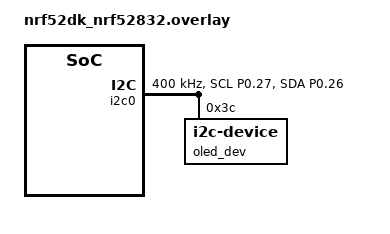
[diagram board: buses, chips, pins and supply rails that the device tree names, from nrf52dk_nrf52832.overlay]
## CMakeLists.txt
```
# SPDX-License-Identifier: Apache-2.0

cmake_minimum_required(VERSION 3.20.0)

find_package(Zephyr REQUIRED HINTS $ENV{ZEPHYR_BASE})
project(pong_main)

# Library definition for graphics
add_library(graphics_lib STATIC
  modules/arcade-drivers/graphics_core.c
  modules/arcade-drivers/graphics_core.h
  modules/arcade-drivers/oled_core.c
  modules/arcade-drivers/oled_core.h
  modules/arcade-drivers/graphics_common.c
  modules/arcade-drivers/graphics_common.h
)

target_link_libraries(graphics_lib PUBLIC zephyr_interface)

# target_include_directories(graphics_lib PUBLIC ${CMAKE_CURRENT_SOURCE_DIR})

# Add include directories
target_include_directories(app PRIVATE
  modules/arcade-drivers/
  inc/
)

target_sources(app PRIVATE 
  # submodule--need these linked with pong and not
  # as separate library (or could we do that)
  # src
  src/main.c
  src/pong_core.c

  # modules/arcade-drivers/graphics_core.c
  # modules/arcade-drivers/oled_core.c
  # modules/arcade-drivers/graphics_common.c
)

target_link_libraries(app PRIVATE graphics_lib)
```

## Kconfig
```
source "Kconfig.zephyr"

config OLED_USE_MEMCPY
	bool "Use memcpy in oled_send_bits"
	default n

config PONG_DEBUG
	bool "Debug mode for pong--collision asserts on"
	default n

config PONG_TEST_PAGE
  bool "Link test page routine into image"
  default y
```

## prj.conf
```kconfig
CONFIG_GPIO=y

CONFIG_LOG=y
CONFIG_LOG_MODE_MINIMAL=y

CONFIG_ASSERT=n

CONFIG_I2C=y
CONFIG_I2C_TARGET=y

CONFIG_TEST_RANDOM_GENERATOR=n
CONFIG_TIMER_RANDOM_GENERATOR=n

# for events
CONFIG_EVENTS=y

# Board specific macros
# CONFIG_HAS_AUTO_RESET=y
CONFIG_OLED_USE_MEMCPY=y
CONFIG_PONG_DEBUG=n
CONFIG_PONG_TEST_PAGE=y

# Stack stuff
# CONFIG_MAIN_STACK_SIZE=1024

# Thread analyzer
# CONFIG_THREAD_ANALYZER=y
# CONFIG_THREAD_ANALYZER_USE_LOG=y
# CONFIG_THREAD_ANALYZER_AUTO=y
# CONFIG_THREAD_ANALYZER_AUTO_INTERVAL=30
# CONFIG_THREAD_NAME=y

CONFIG_DEBUG=n
# CONFIG_DEBUG_THREAD_INFO=y
```

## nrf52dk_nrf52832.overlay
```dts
/* For more help, browse the devicetree documentation at https://docs.zephyrproject.org/latest/build/dts/index.html
 * You can also visit the nRF DeviceTree extension documentation at https://docs.nordicsemi.com/bundle/nrf-connect-vscode/page/guides/ncs_configure_app.html#devicetree-support-in-the-extension
 */

// get buttons here


&i2c0 {

	status = "okay";

	pinctrl-0 = <&i2c0_default>;
	pinctrl-1 = <&i2c0_sleep>;
	pinctrl-names = "default", "sleep";

	oled_dev: oled_dev@3c {
		compatible = "i2c-device";
		status = "okay";
		reg = <0x3c>;
	};

	clock-frequency = <400000>;
};

&pinctrl {
	/omit-if-no-ref/ i2c0_default: i2c0_default {
		group1 {
			psels = <NRF_PSEL(TWIM_SCL, 0, 27)>,
				<NRF_PSEL(TWIM_SDA, 0, 26)>;
		};
	};

	/omit-if-no-ref/ i2c0_sleep: i2c0_sleep {
		group1 {
			psels = <NRF_PSEL(TWIM_SCL, 0, 27)>,
				<NRF_PSEL(TWIM_SDA, 0, 26)>;
			low-power-enable;
		};
	};
};
```

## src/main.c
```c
/*
 * Author: Aidan Stanford
 */

#include <zephyr/kernel.h>
// #include <zephyr/sys/printk.h>
#include <zephyr/drivers/i2c.h>
#include <zephyr/logging/log.h>
#include <zephyr/drivers/gpio.h>

// for generating images
#include <zephyr/random/random.h>

#include "graphics_common.h"
#include "pong_core.h"

/* Get the i2c device handle */
const struct i2c_dt_spec dev_i2c = I2C_DT_SPEC_GET(DT_NODELABEL(oled_dev));
const struct i2c_dt_spec *shared_dev = &dev_i2c;

LOG_MODULE_REGISTER(main);

/* Thread objects */
static struct k_thread pong_obj;
K_THREAD_STACK_DEFINE(pong_stack, PONG_MAIN_STACK_SIZE);

int main(void) {
  // send config to device to display ram
  oled_core_cfg_t my_cfg = {
  	.screen_mod = 0,
  	.mem_mode = HORIZ_MODE,
    .col_start_end = {0X00, 0X7F},
    .page_start_end = {0X00, 0X07}
  };
  
  // initializes the config and powers on the device 
	// in ram mode
  oled_init(&my_cfg, SET_ADDR_MODE | SET_SCREEN_RAM_MOD | SET_COL_START_END |
      SET_PAGE_START_END);
  
	k_sleep(K_MSEC(1000));

	// once we're ready, create pong_main
	k_tid_t pong_tid = k_thread_create(&pong_obj, pong_stack, K_THREAD_STACK_SIZEOF(pong_stack),
                                       pong_main, NULL, NULL, NULL,
                                       PONG_MAIN_PRIORITY, 0, K_NO_WAIT);

	LOG_INF("pong_main tid: %p", pong_tid);

  while (1) {
    // sleep for some time
    k_sleep(K_MSEC(10000));
  }
  
  return 0;
}
```

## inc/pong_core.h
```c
/*
 * Author: Aidan S
 */

#ifndef __PONG_CORE__
#define __PONG_CORE__

#include <stdbool.h>
#include <stdint.h>

#include <zephyr/drivers/gpio.h>

// include new graphics header
#include "graphics_common.h"

// TODO: rewrite everything

/* Macros */

#define ARENA_TOP SCREEN_LIMIT_Y
#define ARENA_RIG SCREEN_LIMIT_X
#define ARENA_BOT (0U)
#define ARENA_LEF (0U)

#define BALL_C (0U) // ball change
#define PLA1_U (1U)	// player 1 up
#define PLA2_U (2U)	// player 2 up
#define PLA1_D (3U)	// player 1 down
#define PLA2_D (4U)	// player 2 down
#define P_SCOR (5U) // score event--clear and reset

// old ball location, written by ball thread
#define BALL_X_MSK (0XFF000000)
#define BALL_Y_MSK (0X00FF0000)

/* Arena macros */
// would like this to be odd for equal top/bottom lengths
#define PADDLE_SIZE (19) // num of pixels from top to bottom

/* Device macros */
// Devicetree stuff
#define PLAY1_UP_BUT DT_ALIAS(sw0)
#define PLAY1_DN_BUT DT_ALIAS(sw1)
#define PLAY2_UP_BUT DT_ALIAS(sw2)
#define PLAY2_DN_BUT DT_ALIAS(sw3)

// TODO #define BALL_SPEED

/* Enums */
typedef enum {
	BALL_W = 0,
	BALL_NW,
	BALL_N,
	BALL_NE,
	BALL_E,
	BALL_SE,
	BALL_S,
	BALL_SW,
	BALL_NODIR,
	BALL_NUMDIRS
} ball_dir_t;

/* Structures */
typedef struct {
	uint16_t pdl_center; // center of the paddle
	uint16_t points;		 // point count for a player
} player_t;

typedef struct {
	uint16_t xp;
	uint16_t yp;
	ball_dir_t dir;
} ball_t;

/* Function declarations */
ball_dir_t update_ball_dir(ball_t *const b);
void pong_test_page(void);

/* Thread stuff here */

/* Declarations */
void screen_thread(void *a, void *b, void *c);
void player_thread(void *a, void *b, void *c);
void ball_thread(void *a, void *b, void *c);
void pong_main(void *a, void *b, void *c);

/* Priorities */
#define SCREEN_PRIORITY    10
#define PLAYER_PRIORITY    12
#define BALL_PRIORITY      11
#define PONG_MAIN_PRIORITY 8

/* Stack sizes */
#define SCREEN_STACK_SIZE     (1024U)
#define BALL_STACK_SIZE       (512U)
#define PONG_MAIN_STACK_SIZE  (1024U)
#define PLAYER_STACK_SIZE     (512U)

/* Sleep values */
#define PLAYER_SLEEP_MS (50U)
#define PAUSE_SLEEP_MS	(200U)
#define BALL_SLEEP_MS		(50U)

typedef enum {
  RUNNING = 0,
  SCORING,
  WAITING,
  NUM_MODES
} game_mode_t;

/* Queue macros */
#define PONG_NUM_MSGS (2U)

#endif
```

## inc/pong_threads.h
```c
/*
 * Author: Aidan Stanford
 */

#ifndef __PONG_THREADS__
#define __PONG_THREADS__

#include <stdbool.h>

/* Declarations */
void screen_thread(void *a, void *b);

void player_thread(void);

void ball_thread(void);

/* Priorities */
#define SCREEN_PRIORITY 4
#define PLAYER_PRIORITY 7
#define BALL_PRIORITY   7
#define MAIN_PRIORITY		5

/* Stack sizes */
#define SCREEN_STACK_SIZE (512U)
#define BALL_STACK_SIZE   (512U)
#define MAIN_STACK_SIZE		(512U)
#define PLAYER_STACK_SIZE (512U)

/* Sleep values */
#define PLAYER_SLEEP_MS (50U)
#define PAUSE_SLEEP_MS	(200U)
#define BALL_SLEEP_MS		(50U)

/* Queue macros */
#define PONG_NUM_MSGS (10U)

#endif
```

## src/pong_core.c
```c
/*
 * Author: Aidan S
 *
 * Helper functions for pong game
 * Maybe a bit of a misnomer...?
 *
 * Thread definitions (including main) in pong_threads.c
 */

// stdlib includes here
#include <stdbool.h>
#include <stdlib.h>
#include <stdint.h>

// Zephyr includes
#include <zephyr/drivers/gpio.h>
#include <zephyr/logging/log.h>
#include <zephyr/sys/util.h>
#include <zephyr/kernel.h>

#include "graphics_common.h"
#include "pong_core.h"

LOG_MODULE_REGISTER(pong_main);

const struct gpio_dt_spec p1_up_but = GPIO_DT_SPEC_GET(PLAY1_UP_BUT, gpios);
const struct gpio_dt_spec p2_up_but = GPIO_DT_SPEC_GET(PLAY2_UP_BUT, gpios);
const struct gpio_dt_spec p1_dn_but = GPIO_DT_SPEC_GET(PLAY1_DN_BUT, gpios);
const struct gpio_dt_spec p2_dn_but = GPIO_DT_SPEC_GET(PLAY2_DN_BUT, gpios);

/* Local macros */
// Debug
#if (defined(ASSERT) && ASSERT)
#define PONG_ASSERT(x) __ASSERT((x) == true, "pong assert failed at %d", __LINE__)
#endif

// For test page
static const pos_t tp_data[] = {{0,0},{64,32},{127,63},{0,63},{64,32},{127,0}};

/* Variables */
static PIX_TYPE pong_fb[SCREEN_SIZE];
bool game_in_progress = false;

static player_t p1;
static player_t p2;
static ball_t	 ball;

struct k_thread player_thread_obj;
struct k_thread screen_thread_obj;
struct k_thread ball_thread_obj;

K_THREAD_STACK_DEFINE(player_stack, PLAYER_STACK_SIZE);
K_THREAD_STACK_DEFINE(screen_stack, SCREEN_STACK_SIZE);
K_THREAD_STACK_DEFINE(ball_stack, BALL_STACK_SIZE);

/* Message queue definition */
// This is what the control threads will use to communicate with
// the screen
static char msgq_buf[PONG_NUM_MSGS * sizeof(uint32_t)];
struct k_msgq pong_msgq;

/* Semaphore definition */
struct k_sem pong_sem;

/* Event definition */
struct k_event mode_event;

/* Helper functions */
// Checker function to ensure a non-faulty collision
static void pong_check_col(bool xl, bool xr, bool yb, bool yt, ball_dir_t dir) {
#if (defined(PONG_DEBUG) && defined(ASSERT))
	// big switch case
	switch (dir) {
		case BALL_N:
			PONG_ASSERT(yt && (!xl) && (!xr) && (!yb));
		case BALL_W:
			PONG_ASSERT(xl && (!xr) && (!yb) && (!yt));
		case BALL_E:
			PONG_ASSERT(xr && (!xl) && (!yb) && (!yt));
		case BALL_S:
			PONG_ASSERT(yb && (!xr) && (!xl) && (!yt));
		case BALL_NW:
			PONG_ASSERT((yt || xl) && (!xr) && (!yb));
		case BALL_NE:
			PONG_ASSERT((yt || xr) && (!xl) && (!yb));
		case BALL_SW:
			PONG_ASSERT((yb || xl) && (!xr) && (!yt));
		case BALL_SE:
			PONG_ASSERT((yb || xr) && (!xl) && (!yt));
		default:
			if (!(xl || xr || yb || yt)) {
				// no collision
				return;
			} else {
				// collision case that wasn't handled properly
				PONG_ASSERT(false);
			}
	}
#else
	// all arguments unused
	(void)xl;
	(void)xr;
	(void)yb;
	(void)yt;
	(void)dir;
#endif
}

/* helper function for paddle detection */
static inline bool paddle_col_helper() {
  const bool yp_p1 = (ball.yp<=p1.pdl_center+(PADDLE_SIZE>>1)) &&
                     (ball.yp>=p1.pdl_center-(PADDLE_SIZE>>1));
  const bool yp_p2 = (ball.yp<=p2.pdl_center+(PADDLE_SIZE>>1)) &&
                     (ball.yp>=p2.pdl_center-(PADDLE_SIZE>>1));

  return ((ball.xp==ARENA_LEF+1) && yp_p1) ||
         ((ball.xp==ARENA_RIG-2) && yp_p2);
}

ball_dir_t update_ball_dir(ball_t *const b) {
	ball_dir_t ret = b->dir;

	// determine if a collision with a wall has happened
	const bool xr_col = (b->xp == ARENA_RIG), xl_col = (b->xp == ARENA_LEF);
	const bool yt_col = (b->yp == ARENA_TOP), yb_col = (b->yp == ARENA_BOT);

	// call checker
	pong_check_col(xl_col, xr_col, yb_col, yt_col, ret);

	// TODO: use semaphore on player here
	const bool pad_col = paddle_col_helper();

	if (!(xr_col || xl_col || yt_col || yb_col || pad_col)) {
		// return the current direction if no collision
		return ret;
	} else if ((xr_col || xl_col) && !pad_col) {
		// return an invalid direction if collision with RL walls
		// since the round is now over
		ret = BALL_NODIR;

		return ret;
	}

	LOG_INF("ball dir: %d, ball x = %d, ball y = %d", b->dir, b->xp, b->yp);

	// determine new direction manually
	switch (ret) {
		case BALL_W:
			ret = BALL_E;
			break;
		case BALL_E:
			ret = BALL_W;
			break;
		case BALL_N:
			ret = BALL_S;
			break;
		case BALL_S:
			ret = BALL_N;
			break;
		case BALL_NW:
			ret = (yt_col) ? BALL_SW : (pad_col) ? BALL_NE : ret;
			break;
		case BALL_NE:
			ret = (yt_col) ? BALL_SE : (pad_col) ? BALL_NW : ret;
			break;
		case BALL_SW:
			ret = (yb_col) ? BALL_NW : (pad_col) ? BALL_SE : ret;
			break;
		case BALL_SE:
			ret = (yb_col) ? BALL_NE : (pad_col) ? BALL_SW : ret;
			break;
		default:
			break;
	}
	LOG_INF("ball new dir: %d", ret);

  b->dir = ret;

	return ret;
}

// test page implementation here
// maybe we should have this as a lifecycle init type function?

/*
 * 1. Test writing a set of pixels to screen, then clearing
 * 2. Test writing a set of horizontal/vertical lines to screen, then clearing
 * 3. Test writing whole screen, then clearing
 */
void pong_test_page(void) {
	// 1.
  LOG_INF("sending test 1");
	for (int i = 0; i < ARRAY_SIZE(tp_data); i++) {
		// set the bit
		set_fb_pixel(tp_data[i].x, tp_data[i].y, pong_fb);
		
		// send it
		write_display(&pong_fb[0], OLED_SIZE);

		// delay slightly
		k_msleep(25);

		// clear it
		clr_fb_pixel(tp_data[i].x, tp_data[i].y, pong_fb);
	}

	memset(pong_fb, 0, sizeof(pong_fb));

	// 2. write horizontal lines
  LOG_INF("sending test 2");
	for (int y = ARENA_BOT; y < ARENA_TOP; y+=SCREEN_DIV) {
		for (int x = ARENA_LEF; x < ARENA_RIG; x++) {
			set_fb_pixel(x, y, pong_fb);
		}
		// send it
		write_display(&pong_fb[0], OLED_SIZE);
	}

	for (int x = ARENA_LEF; x < ARENA_RIG; x+=SCREEN_DIV) {
		for (int y = ARENA_BOT; y < ARENA_TOP; y++) {
			set_fb_pixel(x, y, pong_fb);
		}
		// send it
		write_display(&pong_fb[0], OLED_SIZE);
	}

	k_msleep(25);

	memset(pong_fb, 0, sizeof(pong_fb));

	// 3.
  LOG_INF("sending test 4");
	memset(pong_fb, 0XFF, sizeof(pong_fb));
	write_display(&pong_fb[0], OLED_SIZE);
	k_msleep(2000);

	memset(pong_fb, 0X00, sizeof(pong_fb));
	write_display(&pong_fb[0], OLED_SIZE);

  LOG_INF("test page complete");
	return;
}

/* Thread definitions here */

// Thread 1: screen thread
// We can sleep this thread until an arena update of some sort occurs
// We could put this on a work queue instead, although I'd want it
// serviced a little earlier maybe

/*
 * ___Highest p__        _____________       ___Lowest p__
 * |            |        |           |       |           |
 * |   Screen   | ---->  |  Players  | ----> |    Ball   |
 * |____________|        |___________|       |___________|
 */

/* Static procedures */
// true: clear p1
// false: clear p2
static void clr_pong_pdl(bool p, PIX_TYPE *fb) {
	for (int i = ARENA_BOT; i < ARENA_TOP; i++) {
		if (p) {
			clr_fb_pixel(ARENA_LEF, i, fb);
		} else {
			clr_fb_pixel(ARENA_RIG-1, i, fb);
		}
	}
}

void screen_thread(void *a, void *b, void *c) {

	// passed parameters
	PIX_TYPE *fb = (PIX_TYPE *)a;

	// local variables
	uint32_t rcv_msg;
  bool do_write = false;

  uint8_t ball_x = ball.xp, ball_y = ball.yp;

	// forever loop
	while (1) {
		// if we've paused the game for whatever reason, wait
    // other threads use semaphores but this doesn't... this ok?

    int ret = k_sem_take(&pong_sem, K_FOREVER);

		if (game_in_progress && (0 == ret)) {

			// wait until message received
			while (0 != k_msgq_get(&pong_msgq, &rcv_msg, K_FOREVER)) { }

      do_write = true;

			/* process msgs if any */
			// player handles
			if ((rcv_msg & BIT(PLA1_U)) || (rcv_msg & BIT(PLA1_D))) {
				clr_pong_pdl(true, fb);

				for (int i = -(PADDLE_SIZE>>1); i < (PADDLE_SIZE>>1); i++) {
					set_fb_pixel(0, p1.pdl_center - i, fb);
				}
			}

			if ((rcv_msg & BIT(PLA2_U)) || (rcv_msg & BIT(PLA2_D))) {
				clr_pong_pdl(false, fb);

				for (int i = -(PADDLE_SIZE>>1); i < (PADDLE_SIZE>>1); i++) {
					set_fb_pixel(SCREEN_LIMIT_X-1, p2.pdl_center - i, fb);
				}
			}

			// ball handles
			if (rcv_msg & BIT(BALL_C)) {
				// clear the old ball position from fb
				clr_fb_pixel(ball_x, ball_y, fb);

				// FIELD_GET -> extracts bitfield from rcv_msg and
				// shifts down to LSB
				ball_x = FIELD_GET(BALL_X_MSK, rcv_msg);
				ball_y = FIELD_GET(BALL_Y_MSK, rcv_msg);

				// modify ball position here and write to screen
				set_fb_pixel(ball_x, ball_y, fb);
			}
		}

		/* write the updated frame buffer to the display */
    if (do_write) {
      if (0 != write_display(fb, SCREEN_SIZE)) {
        // do something here
      }
      do_write = false;
    }

    // send event now
    if (rcv_msg & BIT(P_SCOR)) {
			// LOG_INF("sending message to main thread");
      k_event_set(&mode_event, 0X1);

      ball_x = (ARENA_RIG - ARENA_LEF) >> 1;
      ball_y = (ARENA_TOP - ARENA_BOT) >> 1;

      k_yield();
    }
		// LOG_INF("screen wrote message 0X%X", rcv_msg);

    k_sem_give(&pong_sem);
	}
}

// this could lowkey (i guess) submit work to a workqueue or something
// with an interrupt... that'd probably be fine
// params: a -> pointer to player 1 struct
// 				 b -> pointer to player 2 struct
void player_thread(void *a, void *b, void *c) {

	uint16_t *cen_p1 = &p1.pdl_center;
	uint16_t *cen_p2 = &p2.pdl_center;

	// forever loop
	while (1) {
		uint32_t p_msg = 0;

		// if we've paused the game for whatever reason, wait
		if (game_in_progress) {
			// there are a couple of ways to do this (like using an interrupt)
			// but i'd (for now) like to keep this to a thread

			// handle--we give precedence to the up button
			if (1 == gpio_pin_get_dt(&p1_up_but)) {
				uint16_t t = *cen_p1;
				if (t < (SCREEN_LIMIT_Y-(PADDLE_SIZE>>1))) {
					// modify struct
					*cen_p1 = t+1;

					// pack msg
					p_msg |= BIT(PLA1_U);
				}
			} else if (1 == gpio_pin_get_dt(&p1_dn_but)) {
				uint16_t t = *cen_p1;

				if (t > (PADDLE_SIZE>>1)) {
					*cen_p1 = t-1;
					p_msg |= BIT(PLA1_D);
				}
			}

			if (1 == gpio_pin_get_dt(&p2_up_but)) {
				uint16_t t = *cen_p2;
				if (t < (SCREEN_LIMIT_Y-(PADDLE_SIZE>>1))) {
					*cen_p2 = t+1;
					p_msg |= BIT(PLA2_U);
				}
			} else if (1 == gpio_pin_get_dt(&p2_dn_but)) {
				uint16_t t = *cen_p2;
				if (t > (PADDLE_SIZE>>1)) {
					*cen_p2 = t-1;
					p_msg |= BIT(PLA2_D);
				}
			}

			if (0 != p_msg) {
				k_msgq_put(&pong_msgq, (const void *)&p_msg, K_NO_WAIT);
				}
			}
			k_msleep(PLAYER_SLEEP_MS);
	}
}

// same with this maybe, but i kinda would want a thread for it if we
// want a pretty specific speed
void ball_thread(void *a, void *b, void *c) {
	uint32_t b_msg;

	while (1) {
		if (game_in_progress) {
			b_msg = 0;

			ball_dir_t new_dir = update_ball_dir(&ball);

			// modify ball position
      // TODO: could be cleaner
			switch (new_dir) {
				case BALL_W:
					ball.xp -= 1;
					break;
				case BALL_NW:
					ball.xp -= 1;
					ball.yp += 1;
					break;
				case BALL_N:
					ball.yp += 1;
					break;
				case BALL_NE:
					ball.xp += 1;
					ball.yp += 1;
					break;
				case BALL_E:
					ball.xp += 1;
					break;
				case BALL_SE:
					ball.xp += 1;
					ball.yp -= 1;
					break;
				case BALL_S:
					ball.yp -= 1;
					break;
				case BALL_SW:
					ball.xp -= 1;
					ball.yp -= 1;
					break;
				case BALL_NODIR:
					// will send signal to reset game
					b_msg |= BIT(P_SCOR);
					break;
				default:
					break;
			}
			
			// insert new position here
			if (!(b_msg & BIT(P_SCOR))) {
				b_msg |= FIELD_PREP(BALL_X_MSK, ball.xp);
				b_msg |= FIELD_PREP(BALL_Y_MSK, ball.yp);
				b_msg |= BIT(BALL_C);
			}

			k_msgq_put(&pong_msgq, (const void *)&b_msg, K_NO_WAIT);

			// then sleep
			k_msleep(BALL_SLEEP_MS);
		} else {
			// k_msleep(PAUSE_SLEEP_MS);
		}
		k_yield();
	}
}

static void pong_initialize_arena(void) {
	LOG_INF("running pong_initialize_arena");

  // initialize the variables
  p1.pdl_center = (ARENA_TOP - ARENA_BOT) >> 1;
  p2.pdl_center = (ARENA_TOP - ARENA_BOT) >> 1;
  ball.xp = (ARENA_RIG - ARENA_LEF) >> 1;
  ball.yp = (ARENA_TOP - ARENA_BOT) >> 1;
  ball.dir = BALL_NE;

  // write to the frame buffer
  memset(pong_fb, 0, SCREEN_SIZE);
  for (int i = -(PADDLE_SIZE>>1); i < (PADDLE_SIZE>>1); i++) {
    // p1
    set_fb_pixel(ARENA_LEF, (int)p1.pdl_center + i, pong_fb);
    set_fb_pixel(ARENA_RIG-1, (int)p2.pdl_center + i, pong_fb);
  }

  // set ball
  set_fb_pixel(ball.xp, ball.yp, pong_fb);

  // write to screen
  write_display(pong_fb, SCREEN_SIZE);

  // sleep
  k_msleep(1000);

  return;
}

void pong_main(void *a, void *b, void *c) {
  game_mode_t pong_mode = WAITING;

  // initialization stuff here
  LOG_INF("entered pong_main");

	pong_test_page();
	
  LOG_INF("came back from test page");

	// initialize gpios here
	if (!gpio_is_ready_dt(&p1_up_but)) {
		LOG_ERR("GPIO peripheral not ready");
	}

	/* ... for other GPIOs if necessary */
	gpio_flags_t gpio_cfg = (GPIO_INPUT);
	if (0 != gpio_pin_configure_dt(&p1_up_but, gpio_cfg)) {
		LOG_ERR("p1_up_but cfg fail");
	}
	if (0 != gpio_pin_configure_dt(&p2_up_but, gpio_cfg)) {
		LOG_ERR("p2_up_but cfg fail");
	}
	if (0 != gpio_pin_configure_dt(&p1_dn_but, gpio_cfg)) {
		LOG_ERR("p1_dn_but cfg fail");
	}
	if (0 != gpio_pin_configure_dt(&p2_dn_but, gpio_cfg)) {
		LOG_ERR("p2_dn_but cfg fail");
	}

	/* any other initializations here */

	/* start game screen */
  pong_initialize_arena();

  /* initialize the semaphores here */
  k_sem_init(&pong_sem, 1, 1);
  
	/* initialize the message queue here */
	k_msgq_init(&pong_msgq, msgq_buf, sizeof(uint32_t), PONG_NUM_MSGS);

  /* initialize event variable here */
  k_event_init(&mode_event);

  // threads start immediately on creation
	game_in_progress = true;

  k_tid_t player_tid = k_thread_create(&player_thread_obj, player_stack, K_THREAD_STACK_SIZEOF(player_stack),
                                       player_thread, NULL, NULL, NULL, PLAYER_PRIORITY,
                                       0, K_FOREVER);
  LOG_INF("player_tid: %p", player_tid);

  k_tid_t screen_tid = k_thread_create(&screen_thread_obj, screen_stack, K_THREAD_STACK_SIZEOF(screen_stack),
                                       screen_thread, (void *)&pong_fb, NULL, NULL,
                                       SCREEN_PRIORITY, 0, K_FOREVER);

  LOG_INF("screen_tid: %p", screen_tid);

  k_tid_t ball_tid = k_thread_create(&ball_thread_obj, ball_stack, K_THREAD_STACK_SIZEOF(ball_stack),
                                     ball_thread, NULL, NULL, NULL, BALL_PRIORITY,
                                     0, K_FOREVER);
  LOG_INF("ball_tid: %p", ball_tid);

  pong_mode = RUNNING;

  LOG_INF("game started");

	k_thread_start(ball_tid);
	k_thread_start(player_tid);
	k_thread_start(screen_tid);

  // probably wait here in case we decide to come back for whatever reason
  while (1) {
    LOG_INF("main loop");
    switch (pong_mode) {
      case RUNNING:
        // wait for the event to switch modes
        // remove the event when done
        k_event_wait_safe(&mode_event, 0X1, true, K_FOREVER);
				LOG_INF("message received in main thread");

        // grab the semaphore immediately and block the other threads
        k_sem_take(&pong_sem, K_FOREVER);
        game_in_progress = false;

				LOG_INF("main has semaphore");

        pong_mode = SCORING;
        break;
      case SCORING:
				game_in_progress = false;

        // reintialize screen
        pong_initialize_arena();

        // purge the queue
        k_msgq_purge(&pong_msgq);

        pong_mode = WAITING;
        break;
      case WAITING:
        k_sem_give(&pong_sem);
        pong_mode = RUNNING;
				game_in_progress = true;
        break;
      default:
        k_yield();
        break;
    }
  }
}
```

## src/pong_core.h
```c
/*
 * Author: Aidan S
 */

#ifndef __PONG_CORE__
#define __PONG_CORE__

#include <stdint.h>

// include new graphics header
#include "graphics_common.h"

// TODO: rewrite everything

/* Macros */
#define ARENA_TOP SCREEN_LIMIT_Y
#define ARENA_RIG SCREEN_LIMIT_X
#define ARENA_BOT (0U)
#define ARENA_LEF (0U)

/* Enums */
typedef enum {
	BALL_W = 0,
	BALL_NW,
	BALL_N,
	BALL_NE,
	BALL_E,
	BALL_SE,
	BALL_S,
	BALL_SW,
	BALL_NUMDIRS
} ball_dir_t;

/* Structures */
typedef struct {
	uint16_t pdl_center; // center of the paddle
	uint16_t points;		 // point count for a player
} player_t;

typedef struct {
	uint16_t xp;
	uint16_t yp;
	ball_dir_t dir;
} ball_t;

typedef struct {
	player_t pa;
	player_t pb;
	ball_t b;
} arena_t;

/* Function declarations */
void pong_test_page(void);
int pong_main(void);

#endif
```

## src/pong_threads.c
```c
/*
 * Author: Aidan Stanford
 *
 * This file contains all the thread definitions for the pong game
 * including the main thread
 */

/* Stdlib includes */
#include <stdbool.h>

/* Zephyr includes */
#include <zephyr/drivers/gpio.h>
#include <zephyr/kernel.h>

/* Project includes */
#include "graphics_common.h"
#include "pong_threads.h"
#include "pong_core.h"

/* Message queue definition */
// This is what the control threads will use to communicate with
// the screen
static char msgq_buf[PONG_NUM_MSGS * sizeof(uint32_t)];
static struct k_msgq pong_msgq;

// Thread 1: screen thread
// We can sleep this thread until an arena update of some sort occurs
// We could put this on a work queue instead, although I'd want it
// serviced a little earlier maybe

/*
 * ___Highest p__        _____________       ___Lowest p__
 * |            |        |           |       |           |
 * |   Screen   | ---->  |  Players  | ----> |    Ball   |
 * |____________|        |___________|       |___________|
 */

/* Static variables */

/* Static procedures */
static void clr_pong_pdl(bool p1, bool p2, PIX_TYPE *fb) {
	for (int i = 0; i < SCREEN_LIMIT_Y; i++) {
		if (p1) {
			clr_fb_pixel(0, i, fb);
		}

		if (p2) {
			clr_fb_pixel(SCREEN_LIMIT_X-1, i, fb);
		}
	}
}

void screen_thread(void *a, void *b) {

	// passed parameters
	PIX_TYPE *fb = (PIX_TYPE *)a;
	int sz = *(int *)b;

	// local variables
	uint32_t rcv_msg;
	int8_t ball_x, ball_y;

	// initialize the message queue here
	k_msgq_init(&pong_msgq, msgq_buf, sizeof(uint32_t), PONG_NUM_MSGS);

	// forever loop
	while (1) {
		// if we've paused the game for whatever reason, wait
		if (game_in_progress &&
				(0 == k_msgq_get(&pong_msgq, (uint32_t *)&rcv_msg, K_NO_WAIT))) {

			/* process msgs if any */

			// player handles
			if ((rcv_msg & BIT(PLA1_U)) || (rcv_msg & BIT(PLA1_D))) {
				clr_pong_pdl(true, false, fb);

				for (int i = -(PADDLE_SIZE>>1); i < (PADDLE_SIZE>>1); i++) {
					set_fb_pixel(0, p1.pdl_center - i, fb);
				}
			}

			if ((rcv_msg & BIT(PLA2_U)) || (rcv_msg & BIT(PLA2_D))) {
				clr_pong_pdl(false, true, fb);

				for (int i = -(PADDLE_SIZE>>1); i < (PADDLE_SIZE>>1); i++) {
					set_fb_pixel(SCREEN_LIMIT_X-1, p1.pdl_center - i, fb);
				}
			}

			// ball handles
			if (rcv_msg & BIT(BALL_C)) {
				// clear the old ball position from fb
				clr_fb_pixel(ball_x, ball_y, fb);

				// FIELD_GET -> extracts bitfield from rcv_msg and
				// shifts down to LSB
				ball_x = FIELD_GET(BALL_X_MSK, rcv_msg);
				ball_y = FIELD_GET(BALL_Y_MSK, rcv_msg);

				// modify ball position here and write to screen
				set_fb_pixel(ball_x, ball_y, fb);
			}

			// clear handle
			if (rcv_msg & BIT(P_SCOR)) {
				memset(fb, 0, sz);
			}
		} else if (game_in_progress) {
			/* write the updated frame buffer to the display */
			if (0 != write_display(fb, sz)) {
				LOG_WRN("write display warning, line %d", __LINE__);
			}
			k_yield();
		} else {
			k_msleep(PAUSE_SLEEP_MS);
		}
	}
}

// this could lowkey (i guess) submit work to a workqueue or something
// with an interrupt... that'd probably be fine
// params: a -> pointer to player 1 struct
// 				 b -> pointer to player 2 struct
void player_thread(void) {

	uint16_t *cen_p1 = &p1->pdl_center;
	uint16_t *cen_p2 = &p2->pdl_center;

	// forever loop
	while (1) {
		uint32_t p_msg = 0;

		// if we've paused the game for whatever reason, wait
		if (game_in_progress) {
			// there are a couple of ways to do this (like using an interrupt)
			// but i'd (for now) like to keep this to a thread

			// handle--we give precedence to the up button
			if (1 == gpio_pin_get_dt(&p1_up_but)) {
				uint16_t t = *cen_p1;
				if (t < (SCREEN_LIMIT_Y-(PADDLE_SIZE>>1))) {
					// modify struct
					*cen_p1 = t+1;

					// pack msg
					p_msg |= BIT(PLA1_U);
				}
			} else if (1 == gpio_pin_get_dt(&p1_dn_but)) {
				uint16_t t = *cen_p1;

				if (t > (PADDLE_SIZE>>1)) {
					*cen_p1 = t-1;
					p_msg |= BIT(PLA1_D);
				}
			}

			if (1 == gpio_pin_get_dt(&p2_up_but)) {
				uint16_t t = *cen_p2;
				if (t < (SCREEN_LIMIT_Y-(PADDLE_SIZE>>1))) {
					*cen_p2 = t+1;
					p_msg |= BIT(PLA2_U);
				}
			} else if (1 == gpio_pin_get_dt(&p2_dn_but)) {
				uint16_t t = *cen_p2;
				if (t > (PADDLE_SIZE>>1)) {
					*cen_p2 = t-1;
					p_msg |= BIT(PLA2_D);
				}
			}

			// send msgs here, if any
			if (0 != p_msg) {
				while (0 != k_msgq_put(&pong_msgq, (const void *)&p_msg, K_NO_WAIT)) { }
			}

			// sleep afterwards
			k_msleep(PLAYER_SLEEP_MS);
		} else {
			k_msleep(PAUSE_SLEEP_MS);
		}
	}
}

// same with this maybe, but i kinda would want a thread for it if we
// want a pretty specific speed
void ball_thread(void) {
	uint32_t b_msg;

	while (1) {
		// if we've paused the game for whatever reason, wait

		if (game_in_progress) {
			// clear message
			b_msg = 0;

			// call update_dir here
			ball_dir_t new_dir = update_ball_dir(&ball);

			// modify ball position
			switch (new_dir) {
				case BALL_W:
					ball.xp -= 1;
					break;
				case BALL_NW:
					ball.xp -= 1;
					ball.yp += 1;
					break;
				case BALL_N:
					ball.yp += 1;
					break;
				case BALL_NE:
					ball.xp += 1;
					ball.yp += 1;
					break;
				case BALL_E:
					ball.xp += 1;
					break;
				case BALL_SE:
					ball.xp += 1;
					ball.yp -= 1;
					break;
				case BALL_S:
					ball.yp -= 1;
					break;
				case BALL_SW:
					ball.xp -= 1;
					ball.yp -= 1;
					break;
				case BALL_NODIR:
					// send signal to reset game here
					b_msg |= P_SCOR;
					break;
				default:
					break;
			}
			
			// insert new position here
			if (!(b_msg & BIT(P_SCOR))) {
				b_msg |= FIELD_PREP(BALL_X_MSK, ball.xp);
				b_msg |= FIELD_PREP(BALL_Y_MSK, ball.yp);
				b_msg |= BALL_C;
			}

			// send message here
			while (0 != k_msgq_put(&pong_msgq, (const void *)&p_msg, K_NO_WAIT)) { }

			// then sleep
			k_msleep(BALL_SLEEP_MS);
		} else {
			k_msleep(PAUSE_SLEEP_MS);
		}
	}
}
```
